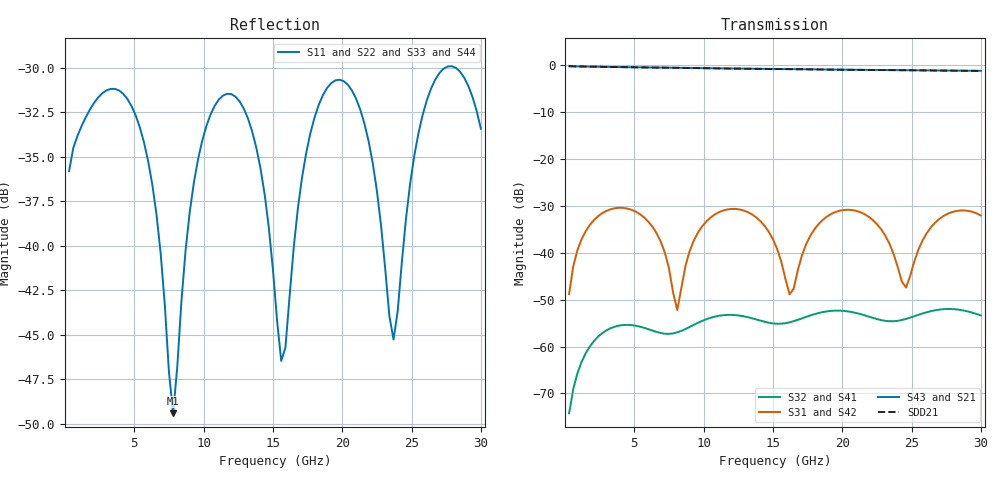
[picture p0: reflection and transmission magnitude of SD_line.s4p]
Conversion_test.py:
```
import matplotlib.pyplot as plt
import skrf as rf
from skrf import Network
import numpy as np
import math, cmath


plt.rcParams["font.family"] = "Century Gothic"
plt.rcParams["font.size"] = "14"

SP_single  = Network("SP/Test_diff/SD_line.s4p")
SP_diff = Network("C:/Users/SH/Desktop/one_diff/diff.s2p")
SP_one_port = Network("C:/Users/SH/Desktop/Test_1/Results_Final.s2p")

S11_one_db = 20*np.log10(SP_one_port.s[:, 1-1, 1-1])
S21_one_db = 20*np.log10(SP_one_port.s[:, 2-1, 1-1])
F2 = SP_one_port.f[:]

S11_db = 20*np.log10(SP_diff.s[:, 1-1, 1-1])
S21_db = 20*np.log10(SP_diff.s[:, 2-1, 1-1])
F1 =  SP_diff.f[:]

Sdd11_single = 0.5*(SP_single.s[:, 1-1, 1-1]-SP_single.s[:, 1-1, 3-1]-SP_single.s[:, 3-1, 1-1]+SP_single.s[:, 3-1, 3-1])
Sdd21_single = 0.5*(SP_single.s[:, 2-1, 1-1]-SP_single.s[:, 4-1, 1-1]-SP_single.s[:, 2-1, 3-1]+SP_single.s[:, 4-1, 3-1])

Sdd11_single_db=20*np.log10(Sdd11_single)
Sdd21_single_db=20*np.log10(Sdd21_single)

F = SP_single.f[:]


plt.figure()
plt.plot(F1, S11_db, label='Measure', linewidth ='3')
#plt.plot(F, Sdd11_single_db, label='Calculate', linewidth ='3',linestyle='--')
plt.plot(F2, S11_one_db, label='One Port', linewidth ='3',linestyle='--')


plt.legend()
plt.xlabel('F, Гц')
plt.ylabel('S11, дБ')
plt.grid()


plt.figure()
plt.title("PEX")
plt.plot(F1, S21_db, label='Measure', linewidth ='3')
#plt.plot(F, Sdd21_single_db, label='Calculate', linewidth ='3',linestyle='--')
plt.plot(F2, S21_one_db, label='One Port', linewidth ='3',linestyle='--')


plt.legend()
plt.xlabel('F, Гц')
plt.ylabel('S21, дБ')
plt.grid()

plt.show()
```
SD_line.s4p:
! Created Tue Apr 13 09:52:22 2021
# hz S ri R 50
! 4 Port Network Data from SP1.SP block
! freq  reS11  imS11  reS12  imS12  reS13  imS13  reS14  imS14
!  reS21  imS21  reS22  imS22  reS23  imS23  reS24  imS24
!  reS31  imS31  reS32  imS32  reS33  imS33  reS34  imS34
!  reS41  imS41  reS42  imS42  reS43  imS43  reS44  imS44
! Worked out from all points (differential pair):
!   100 points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, 300 MHz to 30 GHz, reference 50 ohm
!   strongest paths, dB at 300 MHz, 7.8 GHz, 15.3 GHz, 22.8 GHz, 30 GHz:
!     S43: -0.1, -0.5, -0.7, -1.0, -1.1
!     S21: -0.1, -0.5, -0.7, -1.0, -1.1
!     S31: -48.8, -48.4, -39.1, -34.9, -32.0
!     S42: -48.8, -48.4, -39.1, -34.9, -32.0
!     S32: -74.3, -57.2, -55.1, -54.4, -53.4
!     S41: -74.3, -57.2, -55.1, -54.4, -53.4
!   taken as a pair (ports 3,1 in; 4,2 out), SDD21 dB: -0.1, -0.5, -0.8, -1.0, -1.2
!   lowest |S11| = -49.4 dB at 7.8 GHz (marker M1), VSWR 1.01, Z = 49.7 - j0.207 ohm
!   |S11| at or under -10 dB: start of sweep to end of sweep
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3e8  0.0161 0.00142  0.9761 -0.1214  0.000464 0.0036  7.36e-05 0.000179
     0.9761 -0.1214  0.0161 0.00142  7.36e-05 0.000179  0.000464 0.0036
     0.000464 0.0036  7.36e-05 0.000179  0.0161 0.00142  0.9761 -0.1214
     7.36e-05 0.000179  0.000464 0.0036  0.9761 -0.1214  0.0161 0.00142
7.8e9  -0.00266 -0.00208  -0.9394 -0.114  0.00249 -0.00285  -0.00107 -0.000871
       -0.9394 -0.114  -0.00267 -0.00208  -0.00107 -0.000871  0.00249 -0.00285
       0.00249 -0.00285  -0.00107 -0.000871  -0.00266 -0.00208  -0.9394 -0.114
       -0.00107 -0.000871  0.00249 -0.00285  -0.9394 -0.114  -0.00267 -0.00208
3e10  -0.0212 0.0019  0.4007 0.781  0.0233 -0.00902  0.000785 0.002
      0.4007 0.781  -0.0213 0.00185  0.000785 0.002  0.0233 -0.00902
      0.0233 -0.00902  0.000785 0.002  -0.0212 0.0019  0.4007 0.781
      0.000785 0.002  0.0233 -0.00902  0.4007 0.781  -0.0213 0.00185
